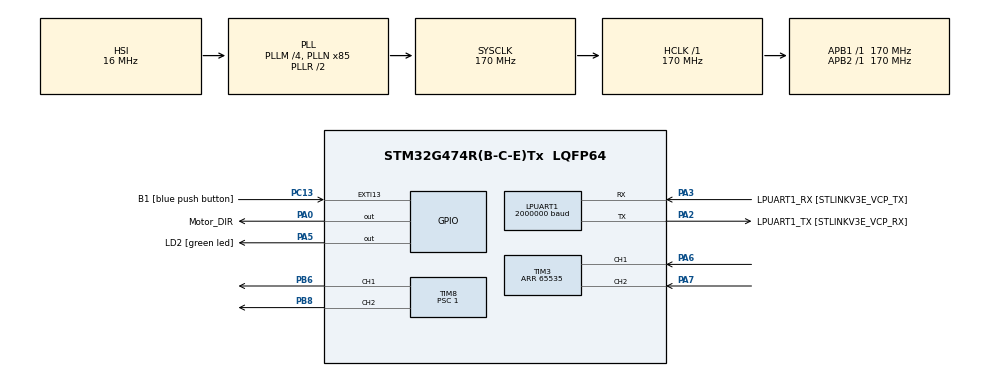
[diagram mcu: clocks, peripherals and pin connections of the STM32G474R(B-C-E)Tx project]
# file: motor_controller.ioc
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Dma.LPUART1_RX.1.Direction=DMA_PERIPH_TO_MEMORY
Dma.LPUART1_RX.1.EventEnable=DISABLE
Dma.LPUART1_RX.1.Instance=DMA1_Channel2
Dma.LPUART1_RX.1.MemDataAlignment=DMA_MDATAALIGN_BYTE
Dma.LPUART1_RX.1.MemInc=DMA_MINC_ENABLE
Dma.LPUART1_RX.1.Mode=DMA_CIRCULAR
Dma.LPUART1_RX.1.PeriphDataAlignment=DMA_PDATAALIGN_BYTE
Dma.LPUART1_RX.1.PeriphInc=DMA_PINC_DISABLE
Dma.LPUART1_RX.1.Polarity=HAL_DMAMUX_REQ_GEN_RISING
Dma.LPUART1_RX.1.Priority=DMA_PRIORITY_VERY_HIGH
Dma.LPUART1_RX.1.RequestNumber=1
Dma.LPUART1_RX.1.SignalID=NONE
Dma.LPUART1_RX.1.SyncEnable=DISABLE
Dma.LPUART1_RX.1.SyncPolarity=HAL_DMAMUX_SYNC_NO_EVENT
Dma.LPUART1_RX.1.SyncRequestNumber=1
Dma.LPUART1_RX.1.SyncSignalID=NONE
Dma.LPUART1_TX.0.Direction=DMA_MEMORY_TO_PERIPH
Dma.LPUART1_TX.0.EventEnable=DISABLE
Dma.LPUART1_TX.0.Instance=DMA1_Channel1
Dma.LPUART1_TX.0.MemDataAlignment=DMA_MDATAALIGN_BYTE
Dma.LPUART1_TX.0.MemInc=DMA_MINC_ENABLE
Dma.LPUART1_TX.0.Mode=DMA_NORMAL
Dma.LPUART1_TX.0.PeriphDataAlignment=DMA_PDATAALIGN_BYTE
Dma.LPUART1_TX.0.PeriphInc=DMA_PINC_DISABLE
Dma.LPUART1_TX.0.Polarity=HAL_DMAMUX_REQ_GEN_RISING
Dma.LPUART1_TX.0.Priority=DMA_PRIORITY_VERY_HIGH
Dma.LPUART1_TX.0.RequestNumber=1
Dma.LPUART1_TX.0.SignalID=NONE
Dma.LPUART1_TX.0.SyncEnable=DISABLE
Dma.LPUART1_TX.0.SyncPolarity=HAL_DMAMUX_SYNC_NO_EVENT
Dma.LPUART1_TX.0.SyncRequestNumber=1
Dma.LPUART1_TX.0.SyncSignalID=NONE
Dma.Request0=LPUART1_TX
Dma.Request1=LPUART1_RX
FREERTOS.Tasks01=defaultTask,24,3000,StartDefaultTask,As weak,NULL,Static,defaultTaskBuffer,defaultTaskControlBlock
FREERTOS.configENABLE_FPU=1
LPUART1.BaudRate=2000000
Mcu.Family=STM32G4
Mcu.Name=STM32G474R(B-C-E)Tx
Mcu.Package=LQFP64
NVIC.DMA1_Channel1_IRQn=true\:5\:0\:false\:false\:true\:true\:false\:true\:true
NVIC.DMA1_Channel2_IRQn=true\:5\:0\:false\:false\:true\:true\:false\:true\:true
NVIC.EXTI15_10_IRQn=true\:5\:0\:false\:false\:true\:true\:true\:true\:true
NVIC.LPUART1_IRQn=true\:5\:0\:false\:false\:true\:true\:true\:true\:true
NVIC.PriorityGroup=NVIC_PRIORITYGROUP_4
NVIC.TIM1_UP_TIM16_IRQn=true\:15\:0\:false\:false\:true\:false\:false\:true\:true
NVIC.TIM5_IRQn=true\:5\:0\:false\:false\:true\:true\:true\:true\:true
NVIC.TimeBase=TIM1_UP_TIM16_IRQn
NVIC.TimeBaseIP=TIM1
PA0.GPIO_Label=Motor_DIR
PA0.PinState=GPIO_PIN_RESET
PA0.Signal=GPIO_Output
PA13.GPIO_Label=T_SWDIO
PA13.Signal=SYS_JTMS-SWDIO
PA14.GPIO_Label=T_SWCLK
PA14.Signal=SYS_JTCK-SWCLK
PA2.GPIO_Label=LPUART1_TX [STLINKV3E_VCP_RX]
PA2.Mode=Asynchronous
PA2.Signal=LPUART1_TX
PA3.GPIO_Label=LPUART1_RX [STLINKV3E_VCP_TX]
PA3.Mode=Asynchronous
PA3.Signal=LPUART1_RX
PA5.GPIO_Label=LD2 [green led]
PA5.Signal=GPIO_Output
PA6.Signal=S_TIM3_CH1
PA7.Signal=S_TIM3_CH2
PB6.Signal=S_TIM8_CH1
PB8-BOOT0.Signal=S_TIM8_CH2
PC13.GPIO_Label=B1 [blue push button]
PC13.Signal=GPXTI13
PC14-OSC32_IN.GPIO_Label=RCC_OSC32_IN
PC14-OSC32_IN.Signal=RCC_OSC32_IN
PC15-OSC32_OUT.GPIO_Label=RCC_OSC32_OUT
PC15-OSC32_OUT.Signal=RCC_OSC32_OUT
PF0-OSC_IN.GPIO_Label=RCC_OSC_IN
PF0-OSC_IN.Signal=RCC_OSC_IN
PF1-OSC_OUT.GPIO_Label=RCC_OSC_OUT
PF1-OSC_OUT.Signal=RCC_OSC_OUT
ProjectManager.HeapSize=0x200
ProjectManager.StackSize=0x400
ProjectManager.TargetToolchain=STM32CubeIDE
RCC.ADC12Freq_Value=170000000
RCC.ADC345Freq_Value=170000000
RCC.AHBFreq_Value=170000000
RCC.APB1Freq_Value=170000000
RCC.APB1TimFreq_Value=170000000
RCC.APB2Freq_Value=170000000
RCC.APB2TimFreq_Value=170000000
RCC.CortexFreq_Value=170000000
RCC.EXTERNAL_CLOCK_VALUE=12288000
RCC.HCLKFreq_Value=170000000
RCC.HSE_VALUE=24000000
RCC.HSI48_VALUE=48000000
RCC.HSI_VALUE=16000000
RCC.LSE_VALUE=32768
RCC.PLLM=RCC_PLLM_DIV4
RCC.PLLN=85
RCC.RTCClockSelection=RCC_RTCCLKSOURCE_LSE
RCC.SYSCLKFreq_VALUE=170000000
RCC.SYSCLKSource=RCC_SYSCLKSOURCE_PLLCLK
RCC.USBFreq_Value=170000000
RCC.VCOOutputFreq_Value=340000000
SH.S_TIM3_CH1.0=TIM3_CH1,Encoder_Interface
SH.S_TIM3_CH2.0=TIM3_CH2,Encoder_Interface
SH.S_TIM8_CH1.0=TIM8_CH1,PWM Generation1 CH1
SH.S_TIM8_CH2.0=TIM8_CH2,PWM Generation2 CH2
TIM3.EncoderMode=TIM_ENCODERMODE_TI12
TIM3.PeriodNoDither=65535
TIM5.Prescaler=169
TIM8.Channel-PWM\ Generation1\ CH1=TIM_CHANNEL_1
TIM8.Channel-PWM\ Generation2\ CH2=TIM_CHANNEL_2
TIM8.PeriodNoDither=65535
TIM8.Prescaler=1
TIM8.PulseNoDither_1=0
VP_FREERTOS_VS_CMSIS_V2.Mode=CMSIS_V2
VP_SYS_VS_DBSignals.Mode=DisableDeadBatterySignals
VP_SYS_VS_tim1.Mode=TIM1
VP_TIM4_VS_ClockSourceINT.Mode=Internal
VP_TIM5_VS_ClockSourceINT.Mode=Internal
VP_TIM8_VS_ClockSourceINT.Mode=Internal
board=NUCLEO-G474RE

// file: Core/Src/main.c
/* USER CODE BEGIN Header */
/**
  ******************************************************************************
  * @file           : main.c
  * @brief          : Main program body
  ******************************************************************************
  * @attention
  *
  * Copyright (c) 2025 STMicroelectronics.
  * All rights reserved.
  *
  * This software is licensed under terms that can be found in the LICENSE file
  * in the root directory of this software component.
  * If no LICENSE file comes with this software, it is provided AS-IS.
  *
  ******************************************************************************
  */
/* USER CODE END Header */
#include "main.h"
#include "cmsis_os.h"
#include "dma.h"
#include "usart.h"
#include "tim.h"
#include "gpio.h"

/* USER CODE BEGIN Includes */
#include <rcl/rcl.h>
#include <rcl/error_handling.h>
#include <rclc/rclc.h>
#include <rclc/executor.h>
#include <uxr/client/transport.h>
#include <rmw_microxrcedds_c/config.h>
#include <rmw_microros/rmw_microros.h>
#include <rcl/init_options.h>
#include <std_msgs/msg/int32.h>
#include <std_msgs/msg/float32_multi_array.h>
#include <math.h>

/* USER CODE END Includes */

/* USER CODE BEGIN PM */
#define RCSOFTCHECK(fn) if (fn != RCL_RET_OK) {};
/* USER CODE END PM */

/* USER CODE BEGIN PV */

//==========ROS2 configuration==========
	rclc_support_t support;
	rcl_allocator_t allocator;
	rcl_node_t node;
	rcl_init_options_t init_options;

	rcl_timer_t timer;
	rcl_timer_t timer1;
	rclc_executor_t executor;

	// ------- Publisher -------
	// pub feedback from motor ['pos', 'vel']
	rcl_publisher_t feedback_pub;
	std_msgs__msg__Float32MultiArray feedback_pub_msg;

	// ------- Subscriber -------
	// Reference command ['pos_ref', 'vel_ref', 'torque_ref']
	rcl_subscription_t ref_sub;
	std_msgs__msg__Float32MultiArray ref_sub_msg;

	// Gain ['Kp', 'Kd', 'Kt', 'Ke', 'R']
	rcl_subscription_t gain_sub;
	std_msgs__msg__Float32MultiArray gain_sub_msg;

	// RL Policy action / command (Voltage)
	rcl_subscription_t rl_action_sub;
	std_msgs__msg__Float32MultiArray rl_action_msg;

//======Parameter configuration======
	// Counter Period
	#define PERIOD_CONST            65535
	#define MOTOR_INIT_PERIOD_CONST 2300
	#define V_MAX					12

	static const int pwm_operated = PERIOD_CONST - MOTOR_INIT_PERIOD_CONST;

	// QEI read
	uint32_t QEIReadRaw;
	float pos_rad = 0; // pos in rad 1 round
	float pos_rad_full = 0; // pos in rad 21 round

	// Motor feedback variable
	typedef struct
	{
	uint32_t Position[2];
	uint64_t TimeStamp[2];
	float QEIPostion_1turn;
	float QEIAngularVelocity;
	}QEI_StructureTypeDef;
	QEI_StructureTypeDef QEIdata = {0};
	QEI_StructureTypeDef QEI_ROS = {0};

	// Kalman Filter
	typedef struct {
	    float pos;      // State: Position (rad)
	    float vel;      // State: Velocity (rad/s)
	    float P[2][2];  // Covariance Matrix
	    float Q[2];     // Process Noise [Pos_variance, Vel_variance]
	    float R;        // Measurement Noise variance
	} KalmanFilter_t;
	KalmanFilter_t kf_motor;
	float kalman_continuous_pos_rad = 0.0f; // Unwrapped position for KF
	float kf_vel_output = 0.0f;             // Final filtered velocity to use

	uint64_t _micros = 0;
	enum {
	NEW, OLD
	};

	// Motor control variable
	int32_t pwm_value = 0;
	float vol_pos = 0.0f;
	float vol_cmd = 0.0f;
	float vol_torque = 0.0f;
	float vol_vel = 0.0f;

	// Temp var
	float loop_period_us = 0.0f;
	float loop_freq = 0.0f;
	uint64_t last_time_us = 0;

	float raw_vel_debug = 0;

/* USER CODE END PV */

void SystemClock_Config(void);
void MX_FREERTOS_Init(void);
/* USER CODE BEGIN PFP */

	// ROS
	bool cubemx_transport_open(struct uxrCustomTransport *transport);
	bool cubemx_transport_close(struct uxrCustomTransport *transport);
	size_t cubemx_transport_write(struct uxrCustomTransport *transport,
			const uint8_t *buf, size_t len, uint8_t *err);
	size_t cubemx_transport_read(struct uxrCustomTransport *transport, uint8_t *buf,
			size_t len, int timeout, uint8_t *err);

	void* microros_allocate(size_t size, void *state);
	void microros_deallocate(void *pointer, void *state);
	void* microros_reallocate(void *pointer, size_t size, void *state);
	void* microros_zero_allocate(size_t number_of_elements, size_t size_of_element,
			void *state);

	uint64_t micros();

	// Microcon
	void QEIEncoderPosVel_Update();
	void Kalman_Init(KalmanFilter_t *kf, float Q_pos, float Q_vel, float R_measure);
	void Kalman_Predict_Update(KalmanFilter_t *kf, float measured_pos, float dt);
/* USER CODE END PFP */

/* USER CODE BEGIN 0 */

// MIT Controller calculation function
void MIT_Controller_Update(void) {
	// ref
	float pos_ref = ref_sub_msg.data.data[0];
	// gain
	float vel_ref = ref_sub_msg.data.data[1];
	float torque_ref = ref_sub_msg.data.data[2];

	// feedback
	float pos = pos_rad_full;

//	float vel = QEIdata.QEIAngularVelocity;
	float vel = kf_vel_output;

	// gain
	float Kp = gain_sub_msg.data.data[0];
	float Kd = gain_sub_msg.data.data[1];
	float Kt = gain_sub_msg.data.data[2];
	float Ke = gain_sub_msg.data.data[3];
	float R = gain_sub_msg.data.data[4];
	if (Kt == 0.0)
		Kt = 1e-13;

	//===== MIT controller (Comment this if using RL policy)======
	vol_pos = (pos_ref - pos) * Kp;
	vol_vel = (vel_ref - vel) * Kd;
	vol_torque = torque_ref * R / Kt;
	vol_cmd = vol_torque + vol_pos + vol_vel;

	//===== RL policy (Comment this if using MIT controller)=====
//	vol_cmd = rl_action_msg.data.data[0];

	//====== V_out Saturate ======
	if (vol_cmd > 12) {
		vol_cmd = 12;
	} else if (vol_cmd < -12) {
		vol_cmd = -12;
	}

	// Apply voltage to motor (convert to PWM value)
	pwm_value = (vol_cmd / 12) * PERIOD_CONST;	// Mapping V_cmd to PWM in range

	// Set motor control
	if (pwm_value >= 0) {
		__HAL_TIM_SET_COMPARE(&htim8, TIM_CHANNEL_1, pwm_value);
		HAL_GPIO_WritePin(GPIOA, GPIO_PIN_0, GPIO_PIN_SET);
	} else {
		__HAL_TIM_SET_COMPARE(&htim8, TIM_CHANNEL_1, abs(pwm_value));
		HAL_GPIO_WritePin(GPIOA, GPIO_PIN_0, GPIO_PIN_RESET);
	}
}

// --- Kalman Filter Implementation ---
void Kalman_Init(KalmanFilter_t *kf, float Q_pos, float Q_vel, float R_measure) {
    kf->pos = 0.0f;
    kf->vel = 0.0f;
    kf->Q[0] = Q_pos;
    kf->Q[1] = Q_vel;
    kf->R = R_measure;

    // Initial Covariance (High uncertainty initially)
    kf->P[0][0] = 1.0f; kf->P[0][1] = 0.0f;
    kf->P[1][0] = 0.0f; kf->P[1][1] = 1.0f;
}

void Kalman_Predict_Update(KalmanFilter_t *kf, float measured_pos, float dt) {
    if (dt <= 0.0f) return;

    // 1. Prediction Step (Model: pos = pos + vel*dt, vel = vel)
    float pos_pred = kf->pos + kf->vel * dt;
    float vel_pred = kf->vel;

    // Predict Covariance: P = A*P*A' + Q
    // A = [[1, dt], [0, 1]]
    float P00_temp = kf->P[0][0] + dt * (kf->P[1][0] + kf->P[0][1]) + dt * dt * kf->P[1][1] + kf->Q[0];
    float P01_temp = kf->P[0][1] + dt * kf->P[1][1];
    float P10_temp = kf->P[1][0] + dt * kf->P[1][1];
    float P11_temp = kf->P[1][1] + kf->Q[1];

    // 2. Update Step
    // Innovation: y = z - Hx_pred
    float y = measured_pos - pos_pred;

    // Innovation Covariance: S = H*P*H' + R
    float S = P00_temp + kf->R;

    // Kalman Gain: K = P*H' * inv(S)
    float K0 = P00_temp / S;
    float K1 = P10_temp / S;

    // Update State
    kf->pos = pos_pred + K0 * y;
    kf->vel = vel_pred + K1 * y;

    // Update Covariance: P = (I - K*H) * P_pred
    kf->P[0][0] = (1.0f - K0) * P00_temp;
    kf->P[0][1] = (1.0f - K0) * P01_temp;
    kf->P[1][0] = -K1 * P00_temp + P10_temp; // Simplified matrix math
    kf->P[1][1] = -K1 * P01_temp + P11_temp;
}

// Micro-second
uint64_t micros() {
	return __HAL_TIM_GET_COUNTER(&htim5) + _micros;
}

// Calculate pos and velo from encoder
void QEIEncoderPosVel_Update() {
	// collect data
	QEIdata.TimeStamp[NEW] = micros();
	QEIdata.Position[NEW] = __HAL_TIM_GET_COUNTER(&htim3);

	// Position 1 turn calculation
	QEIdata.QEIPostion_1turn = QEIdata.Position[NEW] % 3072;

	// calculate dx
	int32_t diffPosition = QEIdata.Position[NEW] - QEIdata.Position[OLD];

	// Handle Warp around
	if (diffPosition > (65535 / 2))
		diffPosition -= 65535;
	else if (diffPosition < -(65535 / 2))
		diffPosition += 65535;

	// calculate dt
	float diffTime = (QEIdata.TimeStamp[NEW] - QEIdata.TimeStamp[OLD])
			* 0.000001f;

//	// calculate anglar velocity
//	QEIdata.QEIAngularVelocity = (float) diffPosition / diffTime
//			/ 3072.0* 2 * M_PI;

	raw_vel_debug = (float) diffPosition / diffTime / 3072.0* 2 * M_PI;

	// Basic calculation (for reference/fallback)
	if (diffTime > 0.0f) {
		QEIdata.QEIAngularVelocity = (float) diffPosition / diffTime / 3072.0f * 2.0f * M_PI;
	} else {
		diffTime = 0.001f; // Safety fallback to 1ms
	}

	// --- KALMAN FILTER UPDATE ---
	// 1. Convert diffPosition to Radians
	float diffRad = ((float)diffPosition / 3072.0f) * 2.0f * M_PI;

	// 2. Accumulate Continuous Position (Resolves wrapping issue for the Filter)
	kalman_continuous_pos_rad += diffRad;

	// 3. Run Filter
	Kalman_Predict_Update(&kf_motor, kalman_continuous_pos_rad, diffTime);

	// 4. Store Output
	kf_vel_output = kf_motor.vel;
	// ----------------------------

	// store value for next loop
	QEIdata.Position[OLD] = QEIdata.Position[NEW];
	QEIdata.TimeStamp[OLD] = QEIdata.TimeStamp[NEW];
}

void timer_callback(rcl_timer_t *timer, int64_t last_call_time) // 1000 Hz
{
	QEIReadRaw = __HAL_TIM_GET_COUNTER(&htim3);

	QEIEncoderPosVel_Update();

	pos_rad = (QEIReadRaw % 3072) / 3072.0 * 2 * M_PI;
	pos_rad_full = QEIReadRaw / 3072.0 * 2 * M_PI;

	MIT_Controller_Update();
}

void timer_callback1(rcl_timer_t *timer, int64_t last_call_time) // 100 Hz
{

	feedback_pub_msg.data.data[0] = pos_rad_full;
	feedback_pub_msg.data.data[1] = kf_vel_output;
	feedback_pub_msg.data.data[2] = vol_cmd;
//	feedback_pub_msg.data.data[2] = raw_vel_debug; // for vel control checking
//	feedback_pub_msg.data.data[2] = pos_rad_full - ref_sub_msg.data.data[0];

	RCSOFTCHECK(rcl_publish(&feedback_pub, &feedback_pub_msg, NULL));
}

void reference_subscription_callback(const void *msgin) {
	// Cast received message to used type
	const std_msgs__msg__Float32MultiArray *ref_sub_msg =
			(const std_msgs__msg__Float32MultiArray*) msgin;
}

void gain_subscription_callback(const void *msgin) {
	// Cast received message to used type
	const std_msgs__msg__Float32MultiArray *gain_sub_msg =
			(const std_msgs__msg__Float32MultiArray*) msgin;
}

void rl_action_subscription_callback(const void *msgin) {
	// Cast received message to used type
	const std_msgs__msg__Float32MultiArray *rl_action_msg =
			(const std_msgs__msg__Float32MultiArray*) msgin;

}

void StartDefaultTask(void *argument) {
	/* USER CODE BEGIN 5 */

	// micro-ROS configuration
	rmw_uros_set_custom_transport(
	true, (void*) &hlpuart1, cubemx_transport_open, cubemx_transport_close,
			cubemx_transport_write, cubemx_transport_read);

	rcl_allocator_t freeRTOS_allocator =
			rcutils_get_zero_initialized_allocator();
	freeRTOS_allocator.allocate = microros_allocate;
	freeRTOS_allocator.deallocate = microros_deallocate;
	freeRTOS_allocator.reallocate = microros_reallocate;
	freeRTOS_allocator.zero_allocate = microros_zero_allocate;

	if (!rcutils_set_default_allocator(&freeRTOS_allocator)) {
		printf("Error on default allocators (line %d)\n", __LINE__);
	}

	// micro-ROS app
	allocator = rcl_get_default_allocator();

	//create init_options
	// Initialize and modify options (Set DOMAIN ID to 16)
	init_options = rcl_get_zero_initialized_init_options();
	RCSOFTCHECK(rcl_init_options_init(&init_options, allocator));
	RCSOFTCHECK(rcl_init_options_set_domain_id(&init_options, 16));

	rclc_support_init_with_options(&support, 0, NULL, &init_options,
			&allocator);

	// create node
	rclc_node_init_default(&node, "motor_node", "", &support);

	// create timer
	rclc_timer_init_default(&timer, &support,
	RCL_MS_TO_NS(1), timer_callback);

	rclc_timer_init_default(&timer1, &support,
	RCL_MS_TO_NS(10), timer_callback1);

	// Initialize Kalman Filter
	// Q_pos: 0.001 (Trust model pos slightly)
	// Q_vel: 10.0  (Allow velocity to change rapidly)
	// R: 0.1       (Measurement noise covariance)
	Kalman_Init(&kf_motor, 0.001f, 10.0f, 0.1f);

	feedback_pub_msg.data.capacity = 3; // จำนวนข้อมูลสูงสุด ['pos', 'vel', 'vol_cmd']
	feedback_pub_msg.data.size = 3;
	feedback_pub_msg.data.data = (float*) malloc(
			feedback_pub_msg.data.capacity * sizeof(float));
	rclc_publisher_init_default(&feedback_pub, &node,
			ROSIDL_GET_MSG_TYPE_SUPPORT(std_msgs, msg, Float32MultiArray),
			"motor_feedback_publisher");

	// create subscription for command
	ref_sub_msg.data.capacity = 3; // จำนวนข้อมูลสูงสุด ['pos', 'vel', 'torque']
	ref_sub_msg.data.size = 3;      // จำนวนข้อมูลที่จะส่ง
	ref_sub_msg.data.data = (float*) malloc(
			ref_sub_msg.data.capacity * sizeof(float));
	// Initialize with default values
	if (ref_sub_msg.data.data != NULL) {
		ref_sub_msg.data.data[0] = 0.0f;
		ref_sub_msg.data.data[1] = 0.0f;
		ref_sub_msg.data.data[2] = 0.0f;
	}

	// rcl_ret_t rc = rclc_subscription_init_default(&ref_sub, &node, type_support, topic_name);
	rcl_ret_t rc = rclc_subscription_init_default(&ref_sub, &node,
			ROSIDL_GET_MSG_TYPE_SUPPORT(std_msgs, msg, Float32MultiArray),
			"reference_subscription");

	// create subscription for gain
	gain_sub_msg.data.capacity = 5; // จำนวนข้อมูลสูงสุด ['Kp', 'Kd', 'Kt', 'Ke', 'r']
	gain_sub_msg.data.size = 5;      // จำนวนข้อมูลที่จะส่ง
	gain_sub_msg.data.data = (float*) malloc(
			gain_sub_msg.data.capacity * sizeof(float));

	// Initialize with default values
	if (gain_sub_msg.data.data != NULL) {
		gain_sub_msg.data.data[0] = 2.0f;  // Kp 2
		gain_sub_msg.data.data[1] = 0.5f;  // Kd 1 or maybe 4.52
		gain_sub_msg.data.data[2] = 0.0146f * 64.0;  // Kt 0.0146
		gain_sub_msg.data.data[3] = 0.0134f * 64.0;  // Ke 0.0134
		gain_sub_msg.data.data[4] = 1.93f;  // R 1.93
	}

	// create subscription for RL action
	rl_action_msg.data.capacity = 1; // จำนวนข้อมูลสูงสุด ['pos', 'vel', 'torque']
	rl_action_msg.data.size = 1;      // จำนวนข้อมูลที่จะส่ง
	rl_action_msg.data.data = (float*) malloc(
			rl_action_msg.data.capacity * sizeof(float));
	// Initialize with default values
	if (rl_action_msg.data.data != NULL) {
		rl_action_msg.data.data[0] = 0.0f;
	}

	rcl_ret_t rl = rclc_subscription_init_default(&rl_action_sub, &node,
			ROSIDL_GET_MSG_TYPE_SUPPORT(std_msgs, msg, Float32MultiArray),
			"rl_action_subscription");

	// rcl_ret_t rc = rclc_subscription_init_default(&ref_sub, &node, type_support, topic_name);
	rcl_ret_t puku = rclc_subscription_init_default(&gain_sub, &node,
			ROSIDL_GET_MSG_TYPE_SUPPORT(std_msgs, msg, Float32MultiArray),
			"gain_subscription");

	// create executor
	executor = rclc_executor_get_zero_initialized_executor();
	rclc_executor_init(&executor, &support.context, 5, &allocator);
	rclc_executor_set_timeout(&executor, RCL_MS_TO_NS(1));
	rclc_executor_add_timer(&executor, &timer);
	rclc_executor_add_timer(&executor, &timer1);

	// rclc executor for reference
	// rclc_executor_add_subscription(&executor, &subscriber, &msg, &subscription_callback, ON_NEW_DATA);
	rclc_executor_add_subscription(&executor, &ref_sub, &ref_sub_msg,
			&reference_subscription_callback, ON_NEW_DATA);

	// rclc executor for gain
	rclc_executor_add_subscription(&executor, &gain_sub, &gain_sub_msg,
			&gain_subscription_callback, ON_NEW_DATA);

	// rclc executor for gain
	rclc_executor_add_subscription(&executor, &rl_action_sub, &rl_action_msg,
			&rl_action_subscription_callback, ON_NEW_DATA);

	// create message
//  pub_msg.data = 0;
	rclc_executor_spin(&executor);

	for (;;) {
//  rclc_executor_spin_some(&executor, RCL_MS_TO_NS(1));
		osDelay(1);
	}

}
/* USER CODE END 0 */

int main(void)
{

  /* MCU Configuration--------------------------------------------------------*/

  /* Reset of all peripherals, Initializes the Flash interface and the Systick. */
  HAL_Init();

  /* Configure the system clock */
  SystemClock_Config();

  /* Initialize all configured peripherals */
  MX_GPIO_Init();
  MX_DMA_Init();
  MX_LPUART1_UART_Init();
  MX_TIM8_Init();
  MX_TIM3_Init();
  MX_TIM5_Init();
  MX_TIM4_Init();
  /* USER CODE BEGIN 2 */
  // control motor
  HAL_TIM_Base_Start(&htim8);
  HAL_TIM_PWM_Start(&htim8, TIM_CHANNEL_1);
  HAL_TIM_PWM_Start(&htim8, TIM_CHANNEL_2);

  // motor
  HAL_TIM_Encoder_Start(&htim3,TIM_CHANNEL_ALL); // read pos
  HAL_TIM_Base_Start_IT(&htim5); // cal vel
  /* USER CODE END 2 */

  /* Init scheduler */
  osKernelInitialize();  /* Call init function for freertos objects (in cmsis_os2.c) */
  MX_FREERTOS_Init();

  /* Start scheduler */
  osKernelStart();

  /* We should never get here as control is now taken by the scheduler */

  /* Infinite loop */
  while (1)
  {

  }
}

void SystemClock_Config(void)
{
  RCC_OscInitTypeDef RCC_OscInitStruct = {0};
  RCC_ClkInitTypeDef RCC_ClkInitStruct = {0};

  /** Configure the main internal regulator output voltage
  */
  HAL_PWREx_ControlVoltageScaling(PWR_REGULATOR_VOLTAGE_SCALE1_BOOST);

  /** Initializes the RCC Oscillators according to the specified parameters
  * in the RCC_OscInitTypeDef structure.
  */
  RCC_OscInitStruct.OscillatorType = RCC_OSCILLATORTYPE_HSI;
  RCC_OscInitStruct.HSIState = RCC_HSI_ON;
  RCC_OscInitStruct.HSICalibrationValue = RCC_HSICALIBRATION_DEFAULT;
  RCC_OscInitStruct.PLL.PLLState = RCC_PLL_ON;
  RCC_OscInitStruct.PLL.PLLSource = RCC_PLLSOURCE_HSI;
  RCC_OscInitStruct.PLL.PLLM = RCC_PLLM_DIV4;
  RCC_OscInitStruct.PLL.PLLN = 85;
  RCC_OscInitStruct.PLL.PLLP = RCC_PLLP_DIV2;
  RCC_OscInitStruct.PLL.PLLQ = RCC_PLLQ_DIV2;
  RCC_OscInitStruct.PLL.PLLR = RCC_PLLR_DIV2;
  if (HAL_RCC_OscConfig(&RCC_OscInitStruct) != HAL_OK)
  {
    Error_Handler();
  }

  /** Initializes the CPU, AHB and APB buses clocks
  */
  RCC_ClkInitStruct.ClockType = RCC_CLOCKTYPE_HCLK|RCC_CLOCKTYPE_SYSCLK
                              |RCC_CLOCKTYPE_PCLK1|RCC_CLOCKTYPE_PCLK2;
  RCC_ClkInitStruct.SYSCLKSource = RCC_SYSCLKSOURCE_PLLCLK;
  RCC_ClkInitStruct.AHBCLKDivider = RCC_SYSCLK_DIV1;
  RCC_ClkInitStruct.APB1CLKDivider = RCC_HCLK_DIV1;
  RCC_ClkInitStruct.APB2CLKDivider = RCC_HCLK_DIV1;

  if (HAL_RCC_ClockConfig(&RCC_ClkInitStruct, FLASH_LATENCY_4) != HAL_OK)
  {
    Error_Handler();
  }
}

void HAL_TIM_PeriodElapsedCallback(TIM_HandleTypeDef *htim)
{
  if (htim->Instance == TIM1)
  {
    HAL_IncTick();
  }
  /* USER CODE BEGIN Callback 1 */

  if (htim == &htim5)
  {
	  _micros += UINT32_MAX;
  }

  /* USER CODE END Callback 1 */
}

void Error_Handler(void)
{
  __disable_irq();
  while (1)
  {
  }
}
